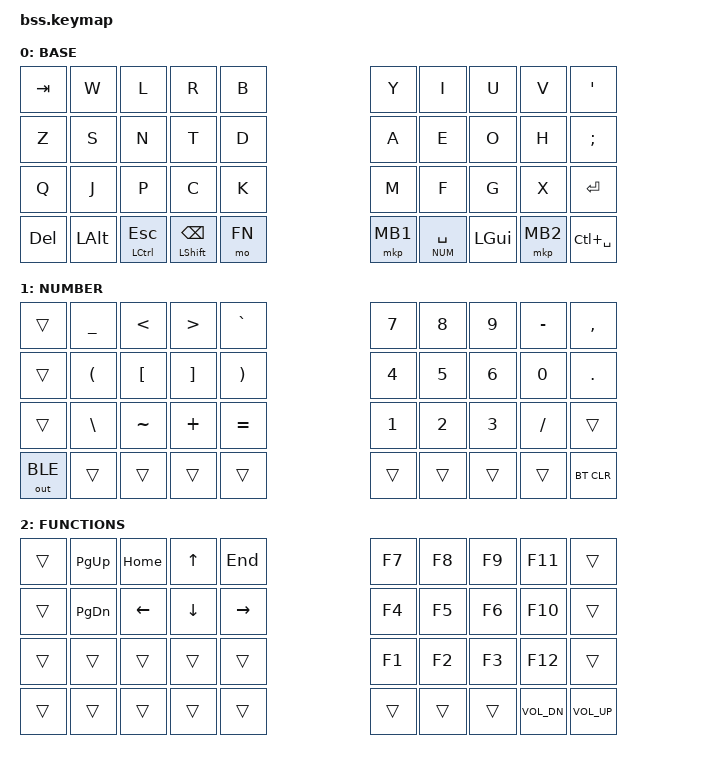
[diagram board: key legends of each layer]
#include <behaviors.dtsi>
#include <dt-bindings/zmk/keys.h>
#include <dt-bindings/zmk/bt.h>
#include <dt-bindings/zmk/outputs.h>
#include <dt-bindings/zmk/mouse.h>

#define BASE 0
#define NUM  1
#define FN  2
#define ADJ  3

&mt {
  quick-tap-ms = <100>;
  global-quick-tap;
  flavor = "hold-preferred";
  tapping-term-ms = <170>;
};

/ {
    combos {
            compatible = "zmk,combos";
            combo_esc {
                timeout-ms = <50>;
                key-positions = <0 1>;
                bindings = <&kp ESC>;
            };
    };

    macros {
        gif: gif {
            label = "giphy";
            compatible = "zmk,behavior-macro";
            #binding-cells = <0>;
            bindings
                = <&macro_press &kp LSHFT>
                , <&macro_tap &kp N2>
                , <&macro_release &kp LSHFT>
                , <&macro_tap &kp G &kp I &kp F>
                ;
        };
    };

        keymap {
            compatible = "zmk,keymap";
            base_layer {
                label= "BASE";
                bindings = <

&kp TAB     &kp W       &kp L       &kp R       &kp B                                                              &kp Y       &kp I       &kp U       &kp V       &kp SQT
&kp Z       &kp S       &kp N       &kp T       &kp D                                                              &kp A       &kp E       &kp O       &kp H       &kp SEMI
&kp Q       &kp J       &kp P       &kp C       &kp K                                                              &kp M       &kp F       &kp G       &kp X       &kp ENTER
                        &kp DEL     &kp LALT    &mt LCTRL ESC   &mt LSHIFT BSPC &mo FN       &mkp MB1  &lt NUM SPC &kp LGUI    &mkp MB2    &kp LC(SPACE)

                >;
            };

            num_layer {
                label= "NUMBER";
                bindings = <

&trans      &kp UNDER   &kp LT      &kp GT      &kp GRAVE                                                   &kp N7      &kp N8      &kp N9      &kp MINUS   &kp COMMA
&trans      &kp LPAR    &kp LBKT    &kp RBKT    &kp RPAR                                                    &kp N4      &kp N5      &kp N6      &kp N0      &kp DOT
&trans      &kp BSLH    &kp TILDE   &kp PLUS    &kp EQUAL                                                   &kp N1      &kp N2      &kp N3      &kp SLASH   &trans
                        &out OUT_BLE &trans     &trans      &trans      &trans      &trans      &trans      &trans      &trans      &bt BT_CLR

                >;
            };

            func_layer {
                label= "FUNCTIONS";
                bindings = <

&trans      &kp PG_UP   &kp HOME    &kp UP      &kp END                                                     &kp F7      &kp F8      &kp F9      &kp F11     &trans
&trans      &kp PG_DN   &kp LEFT    &kp DOWN    &kp RIGHT                                                   &kp F4      &kp F5      &kp F6      &kp F10     &trans
&trans      &trans      &trans      &trans      &trans                                                      &kp F1      &kp F2      &kp F3      &kp F12     &trans
                        &trans      &trans      &trans      &trans      &trans      &trans      &trans      &trans      &kp C_VOL_DN &kp C_VOL_UP

                >;
            };
        };
};
